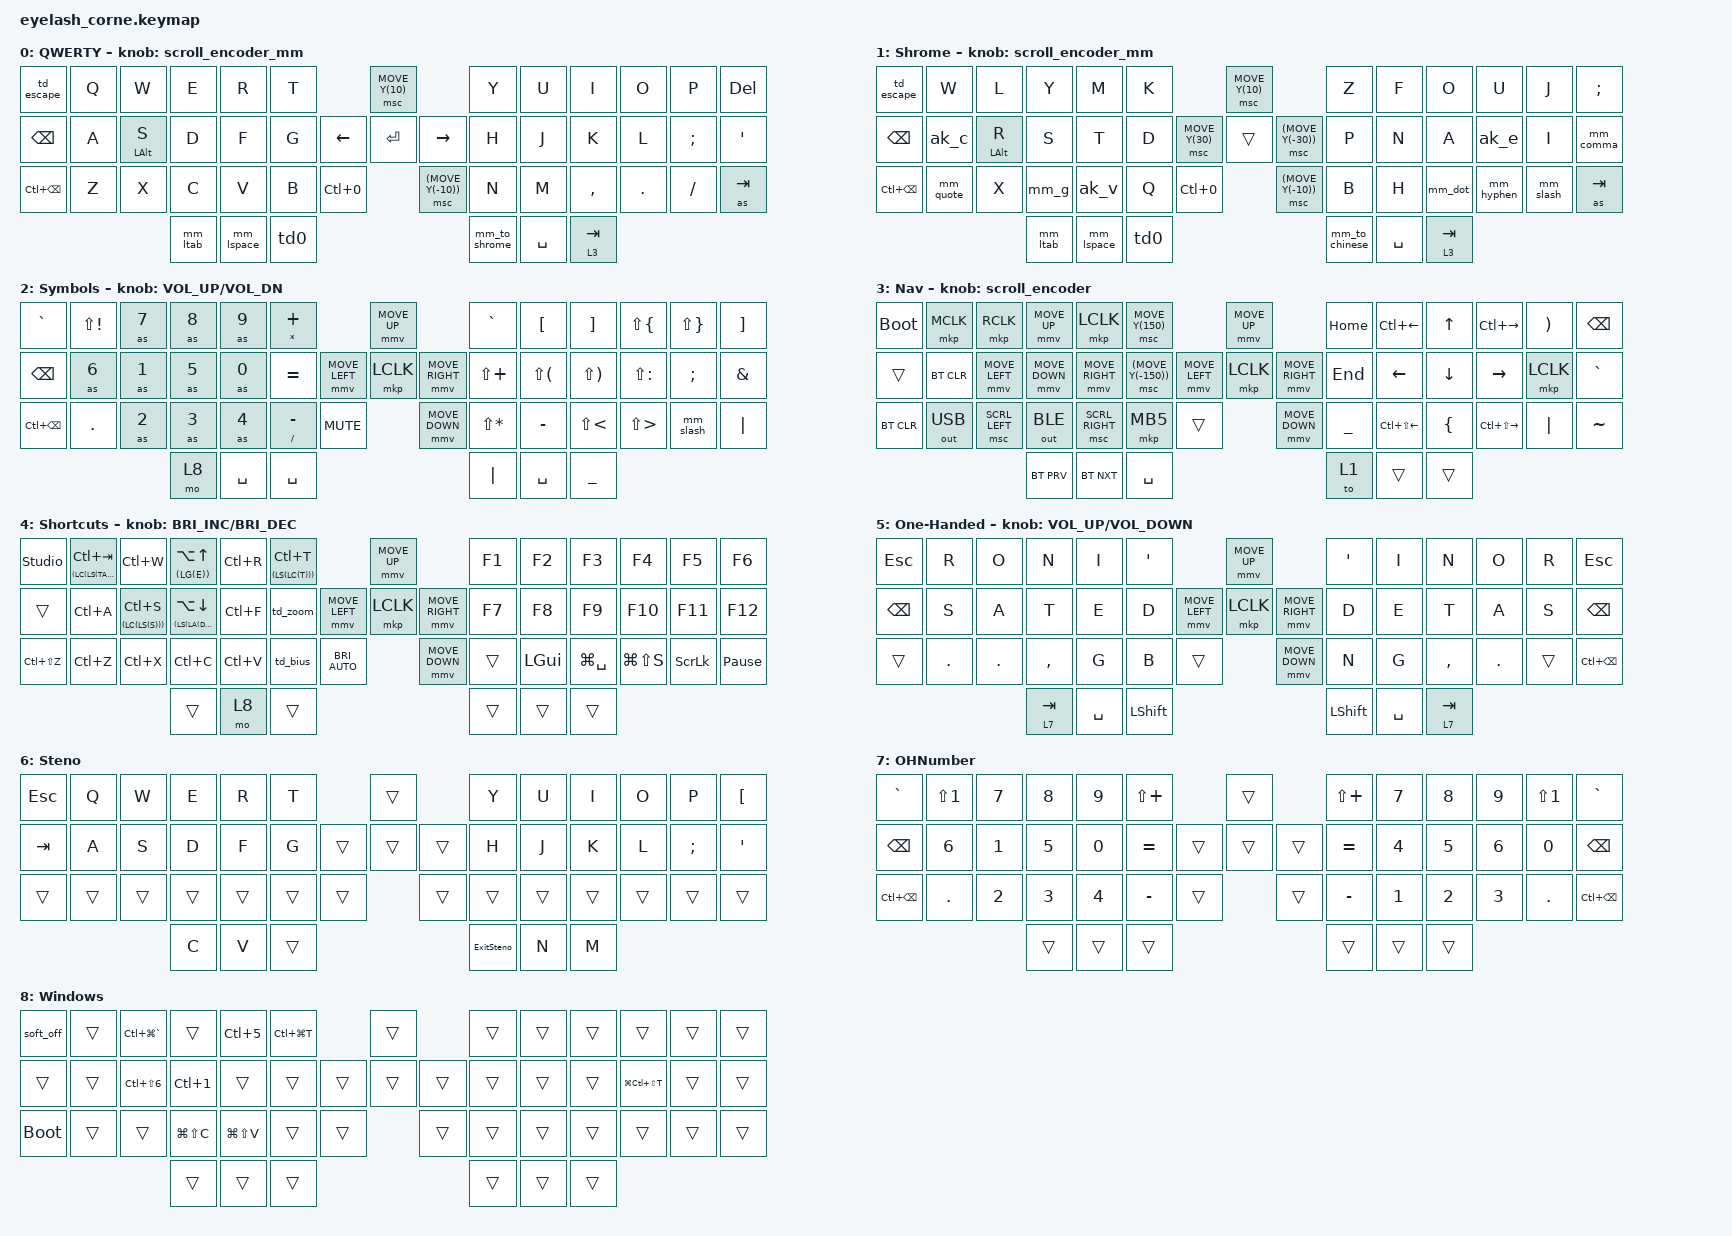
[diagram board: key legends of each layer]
#define ZMK_POINTING_DEFAULT_MOVE_VAL 600  // 600
#define ZMK_POINTING_DEFAULT_SCRL_VAL 20   // 120

#include <input/processors.dtsi>
#include <zephyr/dt-bindings/input/input-event-codes.h>
#include <behaviors.dtsi>
#include <dt-bindings/zmk/bt.h>
#include <dt-bindings/zmk/keys.h>
#include <dt-bindings/zmk/outputs.h>
#include <dt-bindings/zmk/pointing.h>
#include <dt-bindings/zmk/rgb.h>

// &mmv_input_listener { input-processors = <&zip_xy_scaler 2 1>; };

&msc_input_listener { input-processors = <&zip_scroll_scaler 2 1>; };

&msc {
    acceleration-exponent = <1>;      // 0
    time-to-max-speed-ms = <1000>;       // 300
    delay-ms = <0>;                   // 0
};

&mmv {
    time-to-max-speed-ms = <100>;
    acceleration-exponent = <0>;
    trigger-period-ms = <16>;
    delay-ms = <0>;                   // 0
};

&mt { flavor = "balanced"; };

&lt { flavor = "hold-preferred"; };

&soft_off { hold-time-ms = <2000>; };

/ {
    behaviors {
        mt_x: mt_x {
            compatible = "zmk,behavior-hold-tap";
            flavor = "hold-preferred";
            #binding-cells = <2>;
            tapping-term-ms = <200>;
            hold-trigger-key-positions = <31 42>; // Added 27
            bindings = <&kp>, <&kp>;
        };

        mt_s: mt_s {
            compatible = "zmk,behavior-hold-tap";
            flavor = "hold-preferred";
            #binding-cells = <2>;
            tapping-term-ms = <200>;
            hold-trigger-key-positions = <42 43>; // Added 27
            bindings = <&kp>, <&kp>;
        };

        ak_c: ak_c {
            compatible = "zmk,behavior-adaptive-key";
            #binding-cells = <0>;
            bindings = <&kp C>;

            akt_qc {
                trigger-keys = <Q>;
                max-prior-idle-ms = <300>;
                bindings = <&sh_because>;
            };
        };

        ak_e: ak_e {
            compatible = "zmk,behavior-adaptive-key";
            #binding-cells = <0>;
            bindings = <&kp E>;

            akt_qe {
                trigger-keys = <Q>;
                max-prior-idle-ms = <300>;
                bindings = <&kp BSPC &kp B &kp E>;
            };
        };

        ak_v: ak_v {
            compatible = "zmk,behavior-adaptive-key";
            #binding-cells = <0>;
            bindings = <&kp V>;

            akt_gv {
                trigger-keys = <G>;
                max-prior-idle-ms = <300>;
                bindings = <&kp Y>;
            };

            akt_xv {
                trigger-keys = <X>;
                max-prior-idle-ms = <300>;
                bindings = <&kp Y>;
            };
        };

        td0: td0 {
            compatible = "zmk,behavior-tap-dance";
            display-name = "Shift/Caps Lock Tap Dance";
            #binding-cells = <0>;
            bindings = <&kp LEFT_SHIFT>, <&kp CAPS>;
        };

        td_bius: td_bius {
            compatible = "zmk,behavior-tap-dance";
            #binding-cells = <0>;
            tapping-term-ms = <200>;
            bindings = <&mt LC(B) LC(I)>, <&mt LC(U) LC(S)>;
        };

        td_escape: td_escape {
            compatible = "zmk,behavior-tap-dance";
            #binding-cells = <0>;
            tapping-term-ms = <200>;
            bindings = <&mt DEL ESC>, <&del_line>;
        };

        td_zoom: td_zoom {
            compatible = "zmk,behavior-tap-dance";
            #binding-cells = <0>;
            tapping-term-ms = <200>;
            bindings = <&mt LC(MINUS) LC(PLUS)>, <&kp LC(N0)>;
        };

        as_ht: autoshift_hold_tap {
            compatible = "zmk,behavior-hold-tap";
            label = "AUTOSHIFT_HOLD_TAP";
            #binding-cells = <2>;
            tapping-term-ms = <135>;
            flavor = "tap-preferred";
            bindings = <&shifted>, <&kp>;
        };

        mm_comma: mod_morph_comma {
            compatible = "zmk,behavior-mod-morph";
            #binding-cells = <0>;
            mods = <(MOD_LSFT)>;
            bindings = <&kp COMMA>, <&kp QUESTION>;
        };

        mm_hyphen: mod_morph_hyphen {
            compatible = "zmk,behavior-mod-morph";
            #binding-cells = <0>;
            mods = <(MOD_LSFT)>;
            bindings = <&kp MINUS>, <&kp DOUBLE_QUOTES>;
        };

        mm_quote: mod_morph_quote {
            compatible = "zmk,behavior-mod-morph";
            #binding-cells = <0>;
            mods = <(MOD_LSFT)>;
            bindings = <&kp SQT>, <&kp UNDERSCORE>;
        };

        mm_slash: mod_morph_slash {
            compatible = "zmk,behavior-mod-morph";
            #binding-cells = <0>;
            mods = <(MOD_LSFT)>;
            bindings = <&kp FSLH>, <&kp BSLH>;
        };

        mm_g: mod_morph_g {
            compatible = "zmk,behavior-mod-morph";
            #binding-cells = <0>;
            mods = <(MOD_LALT)>;
            keep-mods = <(MOD_LALT)>;
            bindings = <&kp G>, <&kp TAB>;
        };

        mm_lspace: mod_morph_lspace {
            compatible = "zmk,behavior-mod-morph";
            #binding-cells = <0>;
            mods = <(MOD_LALT)>;
            keep-mods = <(MOD_LALT)>;
            bindings = <&lt 2 SPACE>, <&kp TAB>;
        };

        mm_ltab: mod_morph_ltab {
            compatible = "zmk,behavior-mod-morph";
            #binding-cells = <0>;
            mods = <(MOD_LALT)>;
            keep-mods = <(MOD_LALT)>;
            bindings = <&lt 4 TAB>, <&kp LS(TAB)>;
        };

        mm_dot: mod_morph_dot {
            compatible = "zmk,behavior-mod-morph";
            #binding-cells = <0>;
            mods = <(MOD_LSFT)>;
            bindings = <&kp DOT>, <&kp UNDERSCORE>;
        };

        mm_backspace: mod_morph_backspace {
            compatible = "zmk,behavior-mod-morph";
            #binding-cells = <0>;
            mods = <(MOD_LSFT)>;
            bindings = <&kp BSPC>, <&kp DEL>;
        };

        mm_scroll_up: mod_morph_scroll_up {
            compatible = "zmk,behavior-mod-morph";
            #binding-cells = <0>;
            mods = <(MOD_LSFT)>;
            bindings = <&msc SCRL_UP>, <&kp LC(MINUS)>;
        };

        mm_scroll_down: mod_morph_scroll_down {
            compatible = "zmk,behavior-mod-morph";
            #binding-cells = <0>;
            mods = <(MOD_LSFT)>;
            bindings = <&msc SCRL_DOWN>, <&kp LC(EQUAL)>;
        };

        scroll_encoder_mm: scroll_encoder_mm {
            compatible = "zmk,behavior-sensor-rotate";
            #sensor-binding-cells = <0>;
            bindings = <&mm_scroll_down>, <&mm_scroll_up>;

            tap-ms = <100>;
        };
    };

    rgb_encoder: rgb_encoder {
        compatible = "zmk,behavior-sensor-rotate";
        #sensor-binding-cells = <0>;
        bindings = <&rgb_ug RGB_BRI>, <&rgb_ug RGB_BRD>;
    };

    scroll_encoder: scroll_encoder {
        compatible = "zmk,behavior-sensor-rotate";
        #sensor-binding-cells = <0>;
        bindings = <&msc SCRL_DOWN>, <&msc SCRL_UP>;

        tap-ms = <100>;
    };

    combos {
        compatible = "zmk,combos";

        softoff {
            bindings = <&soft_off>;
            key-positions = <1 15 29>;
            layers = <0 1 2 3 4 7 5>;
        };

        LCtrl {
            bindings = <&kp LEFT_CONTROL>;
            key-positions = <4 17>;
            layers = <0 1 2 3 4 7 5>;
        };

        LEnter {
            bindings = <&kp ENTER>;
            key-positions = <15 16 17>;
            layers = <0 1 2 3 4 7 5>;
        };

        RCtrl {
            bindings = <&kp RCTRL>;
            key-positions = <8 23>;
            layers = <0 1 2 3 4 7 5>;
        };

        LShift {
            bindings = <&kp LSHIFT>;
            key-positions = <3 16>;
            layers = <0 1 2 3 4 7 5>;
        };

        RShift {
            bindings = <&kp RSHIFT>;
            key-positions = <9 24>;
            layers = <0 1 2 3 4 7 5>;
        };

        LAlt {
            bindings = <&kp LALT>;
            key-positions = <2 15>;
            layers = <0 1 2 3 4 7 5>;
        };

        RAlt {
            bindings = <&kp RALT>;
            key-positions = <10 25>;
            layers = <0 1 2 3 4 7 5>;
        };

        LGui {
            bindings = <&kp LGUI>;
            key-positions = <1 14>;
            layers = <0 1 2 3 4 7 5>;
        };

        RGui {
            bindings = <&kp RGUI>;
            key-positions = <11 26>;
            layers = <0 1 2 3 4 7 5>;
        };

        Enter {
            bindings = <&kp ENTER>;
            key-positions = <16 17 23 24>;
            layers = <0 1 2 3 4 7 5>;
        };

        ToSteno {
            bindings = <&ToSteno>;
            key-positions = <14 2 10 26>;
            layers = <0 1 2 3 4 7 5>;
        };

        // One-handed layer combos - Left Hand (ohl_*)
        // Key mappings: 1->5, 2->17, 3->4, 4->16, 5->3, 6->15, 7->2, 8->14

        ohl_b: ohl_b {
            bindings = <&kp B>;
            key-positions = <15 3>; // 4 15 -> b
            layers = <5>;
        };

        ohl_c: ohl_c {
            bindings = <&kp C>;
            key-positions = <17 15>; // 17 15 -> c
            layers = <5>;
        };

        ohl_d: ohl_d {
            bindings = <&kp D>;
            key-positions = <17 14>; // 17 14 -> d
            layers = <5>;
        };

        ohl_f: ohl_f {
            bindings = <&kp F>;
            key-positions = <2 4>; // 5 3 -> f
            layers = <5>;
        };

        ohl_g: ohl_g {
            bindings = <&kp G>;
            key-positions = <1 4>; // 5 2 -> g
            layers = <5>;
        };

        ohl_h: ohl_h {
            bindings = <&kp H>;
            key-positions = <16 17>; // 16 15 -> h
            layers = <5>;
        };

        ohl_j: ohl_j {
            bindings = <&kp J>;
            key-positions = <16 1>; // 16 2 -> j
            layers = <5>;
        };

        ohl_k: ohl_k {
            bindings = <&kp K>;
            key-positions = <15 4>; // 5 15 -> k
            layers = <5>;
        };

        ohl_l: ohl_l {
            bindings = <&kp L>;
            key-positions = <17 3>; // 17 4 -> l
            layers = <5>;
        };

        ohl_m: ohl_m {
            bindings = <&kp M>;
            key-positions = <17 1>; // 17 2 -> m
            layers = <5>;
        };

        ohl_p: ohl_p {
            bindings = <&kp P>;
            key-positions = <3 2>; // 4 3 -> p
            layers = <5>;
        };

        ohl_q: ohl_q {
            bindings = <&kp Q>;
            key-positions = <16 14>; // 16 14 -> q
            layers = <5>;
        };

        ohl_u: ohl_u {
            bindings = <&kp U>;
            key-positions = <17 2>; // 17 3 -> u
            layers = <5>;
        };

        ohl_v: ohl_v {
            bindings = <&kp V>;
            key-positions = <15 16>; // 3 15 -> v
            layers = <5>;
        };

        ohl_w: ohl_w {
            bindings = <&kp W>;
            key-positions = <14 4>; // 5 14 -> w
            layers = <5>;
        };

        ohl_x: ohl_x {
            bindings = <&kp X>;
            key-positions = <14 3>; // 4 14 -> x
            layers = <5>;
        };

        ohl_y: ohl_y {
            bindings = <&kp Y>;
            key-positions = <4 3>; // 5 4 -> y
            layers = <5>;
        };

        ohl_z: ohl_z {
            bindings = <&kp Z>;
            key-positions = <1 3>; // 4 2 -> z
            layers = <5>;
        };

        ohl_colon: ohl_colon {
            bindings = <&kp COLON>;
            key-positions = <15 14>; // 15 14 -> colon
            layers = <5>;
        };

        ohl_semicolon: ohl_semicolon {
            bindings = <&kp SEMI>;
            key-positions = <2 1>; // 3 2 -> semicolon
            layers = <5>;
        };

        ohl_question: ohl_question {
            bindings = <&kp QUESTION>;
            key-positions = <17 3 2>; // 17 4 3 -> question mark
            layers = <5>;
        };

        ohl_exclamation: ohl_exclamation {
            bindings = <&kp EXCLAMATION>;
            key-positions = <16 15 4>; // 5 16 15 -> exclamation mark
            layers = <5>;
        };

        ohl_hyphen: ohl_hyphen {
            bindings = <&kp MINUS>;
            key-positions = <4 3 2>; // 5 4 3 -> hyphen
            layers = <5>;
        };

        ohl_slash: ohl_slash {
            bindings = <&kp FSLH>;
            key-positions = <16 4>; // 16 3 -> slash
            layers = <5>;
        };

        ohl_backslash: ohl_backslash {
            bindings = <&kp BSLH>;
            key-positions = <16 2>; // 5 16 -> backward slash
            layers = <5>;
        };

        // One-handed layer combos - Right Hand (ohr_*)
        // Key mappings: 1->8, 2->23, 3->9, 4->24, 5->10, 6->25, 7->11, 8->26

        ohr_b: ohr_b {
            bindings = <&kp B>;
            key-positions = <9 25>; // 9 25 -> b
            layers = <5>;
        };

        ohr_c: ohr_c {
            bindings = <&kp C>;
            key-positions = <23 25>; // 23 25 -> c
            layers = <5>;
        };

        ohr_d: ohr_d {
            bindings = <&kp D>;
            key-positions = <23 26>; // 23 26 -> d
            layers = <5>;
        };

        ohr_f: ohr_f {
            bindings = <&kp F>;
            key-positions = <8 10>; // 8 10 -> f
            layers = <5>;
        };

        ohr_g: ohr_g {
            bindings = <&kp G>;
            key-positions = <8 11>; // 8 11 -> g
            layers = <5>;
        };

        ohr_h: ohr_h {
            bindings = <&kp H>;
            key-positions = <24 23>; // 24 25 -> h
            layers = <5>;
        };

        ohr_j: ohr_j {
            bindings = <&kp J>;
            key-positions = <24 11>; // 24 11 -> j
            layers = <5>;
        };

        ohr_k: ohr_k {
            bindings = <&kp K>;
            key-positions = <8 25>; // 8 25 -> k
            layers = <5>;
        };

        ohr_l: ohr_l {
            bindings = <&kp L>;
            key-positions = <23 9>; // 23 9 -> l
            layers = <5>;
        };

        ohr_m: ohr_m {
            bindings = <&kp M>;
            key-positions = <23 11>; // 23 11 -> m
            layers = <5>;
        };

        ohr_p: ohr_p {
            bindings = <&kp P>;
            key-positions = <9 10>; // 9 10 -> p
            layers = <5>;
        };

        ohr_q: ohr_q {
            bindings = <&kp Q>;
            key-positions = <24 26>; // 24 26 -> q
            layers = <5>;
        };

        ohr_u: ohr_u {
            bindings = <&kp U>;
            key-positions = <23 10>; // 23 10 -> u
            layers = <5>;
        };

        ohr_v: ohr_v {
            bindings = <&kp V>;
            key-positions = <24 25>; // 10 25 -> v
            layers = <5>;
        };

        ohr_w: ohr_w {
            bindings = <&kp W>;
            key-positions = <8 26>; // 8 26 -> w
            layers = <5>;
        };

        ohr_x: ohr_x {
            bindings = <&kp X>;
            key-positions = <9 26>; // 9 26 -> x
            layers = <5>;
        };

        ohr_y: ohr_y {
            bindings = <&kp Y>;
            key-positions = <8 9>; // 8 9 -> y
            layers = <5>;
        };

        ohr_z: ohr_z {
            bindings = <&kp Z>;
            key-positions = <9 11>; // 9 11 -> z
            layers = <5>;
        };

        ohr_colon: ohr_colon {
            bindings = <&kp COLON>;
            key-positions = <25 26>; // 25 26 -> colon
            layers = <5>;
        };

        ohr_semicolon: ohr_semicolon {
            bindings = <&kp SEMI>;
            key-positions = <10 11>; // 10 11 -> semicolon
            layers = <5>;
        };

        ohr_question: ohr_question {
            bindings = <&kp QUESTION>;
            key-positions = <23 9 10>; // 23 9 10 -> question mark
            layers = <5>;
        };

        ohr_exclamation: ohr_exclamation {
            bindings = <&kp EXCLAMATION>;
            key-positions = <8 24 25>; // 8 24 25 -> exclamation mark
            layers = <5>;
        };

        ohr_hyphen: ohr_hyphen {
            bindings = <&kp MINUS>;
            key-positions = <8 9 10>; // 8 9 10 -> hyphen
            layers = <5>;
        };

        ohr_slash: ohr_slash {
            bindings = <&kp FSLH>;
            key-positions = <24 10>; // 24 10 -> slash
            layers = <5>;
        };

        ohr_backslash: ohr_backslash {
            bindings = <&kp BSLH>;
            key-positions = <8 24>; // 8 24 -> backward slash
            layers = <5>;
        };

        LToOneHand {
            bindings = <&to 5>;
            key-positions = <30 31 32>;
            layers = <1 0>;
        };

        RToOneHand {
            bindings = <&to 5>;
            key-positions = <37 38 39>;
            layers = <1 0>;
        };

        LExitOneHand {
            bindings = <&to 1>;
            key-positions = <30 31 32>;
            layers = <5>;
        };

        RExitOneHand {
            bindings = <&to 1>;
            key-positions = <37 38 39>;
            layers = <5>;
        };

        CtrlEnter {
            bindings = <&kp LC(ENTER)>;
            key-positions = <4 17 23 8 23>;
            layers = <0 1 2 3 4 7 5>;
        };

        ShiftEnter {
            bindings = <&kp LS(ENTER)>;
            key-positions = <16 9 24 3>;
            layers = <0 1 2 3 4 7 5>;
        };

        AltEnter {
            bindings = <&kp LA(ENTER)>;
            key-positions = <2 15 10 25>;
            layers = <0 1 2 3 4 7 5>;
        };

        REnter {
            bindings = <&kp ENTER>;
            key-positions = <24 25 23>;
            layers = <0 1 2 3 4 7 5>;
        };

        WinEnter {
            bindings = <&kp LG(ENTER)>;
            key-positions = <1 14 11 26>;
            layers = <0 1 2 3 4 7 5>;
        };

        LCtrlSticky {
            bindings = <&sk LEFT_CONTROL>;
            key-positions = <4 17>;
            layers = <5 7>;
        };

        LEnterSticky {
            bindings = <&sk ENTER>;
            key-positions = <15 16 17>;
            layers = <5 7>;
        };

        RCtrlSticky {
            bindings = <&sk RCTRL>;
            key-positions = <8 23>;
            layers = <5 7>;
        };

        LShiftSticky {
            bindings = <&sk LSHIFT>;
            key-positions = <3 16>;
            layers = <5 7>;
        };

        RShiftSticky {
            bindings = <&sk RSHIFT>;
            key-positions = <9 24>;
            layers = <5 7>;
        };

        LAltSticky {
            bindings = <&sk LALT>;
            key-positions = <2 15>;
            layers = <5 7>;
        };

        RAltSticky {
            bindings = <&sk RALT>;
            key-positions = <10 25>;
            layers = <5 7>;
        };

        LGuiSticky {
            bindings = <&sk LGUI>;
            key-positions = <1 14>;
            layers = <5 7>;
        };

        RGuiSticky {
            bindings = <&sk RGUI>;
            key-positions = <11 26>;
            layers = <5 7>;
        };
    };

    macros {
        sh_because: sh_because {
            compatible = "zmk,behavior-macro";
            #binding-cells = <0>;
            bindings =
                <&macro_tap>,
                <&kp BSPC &kp B &kp E &kp C &kp A &kp U &kp S &kp E>,
                <&macro_press>;

            label = "sh_because";
        };

        del_line: del_line {
            compatible = "zmk,behavior-macro";
            #binding-cells = <0>;
            bindings =
                <&macro_tap>,
                <&kp HOME &kp HOME &kp RS(END) &kp BSPC &kp BSPC &kp DOWN &kp END>,
                <&macro_press>;

            label = "del_line";
        };

        shifted: macro_shifted_kp {
            #binding-cells = <1>;
            label = "MACRO_SHIFTED_KP";
            compatible = "zmk,behavior-macro-one-param";
            bindings =
                <&macro_press>,
                <&kp LSHFT &macro_param_1to1>,
                <&macro_tap>,
                <&kp MACRO_PLACEHOLDER>,
                <&macro_release>,
                <&kp LSHFT>;
        };

        as: autoshift {
            compatible = "zmk,behavior-macro-one-param";
            #binding-cells = <1>;
            label = "AUTOSHIFT_KP";
            bindings =
                <&macro_press>,
                <&macro_param_1to1 &macro_param_1to2 &as_ht MACRO_PLACEHOLDER MACRO_PLACEHOLDER>,
                <&macro_pause_for_release>,
                <&macro_release>,
                <&macro_param_1to1 &macro_param_1to2 &as_ht MACRO_PLACEHOLDER MACRO_PLACEHOLDER>;
        };

        ToChinese: ToChinese {
            compatible = "zmk,behavior-macro";
            #binding-cells = <0>;
            bindings = <&macro_tap>, <&kp LC(LS(SPACE)) &to 0>;

            #bindings = <&macro_tap>, <&kp LA(LS(NUMBER_0)) &to 0>;

            label = "TOCHINESE";
        };

        ToChinese_ctrl: ToChinese_ctrl {
            compatible = "zmk,behavior-macro";
            #binding-cells = <0>;
            bindings = <&macro_tap>, <&kp LA(LS(NUMBER_0)) &to 0>;

            #bindings = <&macro_tap>, <&kp LC(LS(SPACE)) &to 0>;

            label = "TOCHINESE_CTRL";
        };

        mm_to_chinese: mod_morph_to_chinese {
            compatible = "zmk,behavior-mod-morph";
            #binding-cells = <0>;
            mods = <(MOD_LCTL)>;
            bindings = <&ToChinese_ctrl>, <&ToChinese>;
        };

        ToShrome: ToShrome {
            compatible = "zmk,behavior-macro";
            #binding-cells = <0>;
            bindings = <&macro_tap>, <&kp LC(SPACE) &to 1>;

            #bindings = <&macro_tap>, <&kp LS(LA(NUMBER_1)) &to 1>;

            label = "TOSHROME";
        };

        ToShrome_ctrl: ToShrome_ctrl {
            compatible = "zmk,behavior-macro";
            #binding-cells = <0>;
            bindings = <&macro_tap>, <&kp LS(LA(NUMBER_1)) &to 1>;

            #bindings = <&macro_tap>, <&kp LC(SPACE) &to 1>;

            label = "TOSHROME_CTRL";
        };

        mm_to_shrome: mod_morph_to_shrome {
            compatible = "zmk,behavior-mod-morph";
            #binding-cells = <0>;
            mods = <(MOD_LCTL)>;
            bindings = <&ToShrome_ctrl>, <&ToShrome>;
        };

        ToSteno: ToSteno {
            compatible = "zmk,behavior-macro";
            #binding-cells = <0>;
            bindings =
                <&macro_press>,
                <&kp E &kp R &kp F &kp V &kp I &kp K &kp H>,
                <&macro_release>,
                <&kp E &kp R &kp F &kp V &kp I &kp K &kp H>,
                <&macro_tap>,
                <&to 6>;

            label = "TOSTENO";
        };

        ExitSteno: ExitSteno {
            compatible = "zmk,behavior-macro";
            #binding-cells = <0>;
            bindings =
                <&macro_press>,
                <&kp E &kp R &kp F &kp V &kp U &kp H>,
                <&macro_release>,
                <&kp E &kp R &kp F &kp V &kp U &kp H>,
                <&macro_tap>,
                <&to 1>;

            label = "EXITSTENO";
        };
    };

    keymap {
        compatible = "zmk,keymap";

        QWERTY {
            display-name = "QWERTY";
            bindings = <
&td_escape         &kp Q  &kp W             &kp E     &kp R       &kp T                          &msc MOVE_Y(10)                &kp Y          &kp U      &kp I      &kp O    &kp P     &kp DEL
&kp BSPC           &kp A  &mt_s LEFT_ALT S  &kp D     &kp F       &kp G                &kp LEFT  &kp ENTER           &kp RIGHT  &kp H          &kp J      &kp K      &kp L    &kp SEMI  &kp SQT
&kp LC(BACKSPACE)  &kp Z  &kp X             &kp C     &kp V       &kp B  &kp LC(N0)              &msc (MOVE_Y(-10))             &kp N          &kp M      &kp COMMA  &kp DOT  &kp FSLH  &as TAB
                                            &mm_ltab  &mm_lspace  &td0                                                          &mm_to_shrome  &kp SPACE  &lt 3 TAB
            >;

            sensor-bindings = <&scroll_encoder_mm>;
        };

        Shrome {
            bindings = <
&td_escape    &kp W      &kp L         &kp Y     &kp M       &kp K                                 &msc MOVE_Y(10)                         &kp Z           &kp F      &kp O      &kp U       &kp J      &kp SEMI
&kp BSPC      &ak_c      &mt_s LALT R  &kp S     &kp T       &kp D                &msc MOVE_Y(30)  &trans              &msc (MOVE_Y(-30))  &kp P           &kp N      &kp A      &ak_e       &kp I      &mm_comma
&kp LC(BSPC)  &mm_quote  &kp X         &mm_g     &ak_v       &kp Q  &kp LC(N0)                     &msc (MOVE_Y(-10))                      &kp B           &kp H      &mm_dot    &mm_hyphen  &mm_slash  &as TAB
                                       &mm_ltab  &mm_lspace  &td0                                                                          &mm_to_chinese  &kp SPACE  &lt 3 TAB
            >;

            sensor-bindings = <&scroll_encoder_mm>;
            label = "Shrome";
        };

        Symbols {
            display-name = "Symbols";
            bindings = <
&kp GRAVE     &kp LS(EXCL)  &as N7  &as N8  &as N9     &mt STAR PLUS                                  &mmv MOVE_UP                     &kp GRAVE     &kp LBKT      &kp RBKT        &kp LS(LBRC)   &kp LS(RBRC)  &kp RBKT
&kp BSPC      &as N6        &as N1  &as N5  &as N0     &kp EQUAL                      &mmv MOVE_LEFT  &mkp LCLK       &mmv MOVE_RIGHT  &kp LS(PLUS)  &kp LS(LPAR)  &kp LS(RPAR)    &kp LS(COLON)  &kp SEMI      &kp AMPERSAND
&kp LC(BSPC)  &kp DOT       &as N2  &as N3  &as N4     &mt SLASH MINUS  &kp C_MUTE                    &mmv MOVE_DOWN                   &kp LS(STAR)  &kp MINUS     &kp LS(LT)      &kp LS(GT)     &mm_slash     &kp PIPE
                                    &mo 8   &kp SPACE  &kp SPACE                                                                       &kp PIPE      &kp SPACE     &kp UNDERSCORE
            >;

            sensor-bindings = <&inc_dec_kp C_VOLUME_UP C_VOL_DN>;
        };

        Nav {
            display-name = "Nav";
            bindings = <
&bootloader  &mkp MCLK     &mkp RCLK       &mmv MOVE_UP    &mkp LCLK        &msc MOVE_Y(150)                               &mmv MOVE_UP                     &kp HOME   &kp LC(LEFT_ARROW)  &kp UP_ARROW    &kp LC(RIGHT_ARROW)  &kp RPAR   &kp BSPC
&trans       &bt BT_CLR    &mmv MOVE_LEFT  &mmv MOVE_DOWN  &mmv MOVE_RIGHT  &msc (MOVE_Y(-150))            &mmv MOVE_LEFT  &mkp LCLK       &mmv MOVE_RIGHT  &kp END    &kp LEFT_ARROW      &kp DOWN_ARROW  &kp RIGHT_ARROW      &mkp LCLK  &kp GRAVE
&bt BT_CLR   &out OUT_USB  &msc SCRL_LEFT  &out OUT_BLE    &msc SCRL_RIGHT  &mkp MB5             &trans                    &mmv MOVE_DOWN                   &kp UNDER  &kp LC(LS(LEFT))    &kp LBRC        &kp LC(LS(RIGHT))    &kp PIPE   &kp TILDE
                                           &bt BT_PRV      &bt BT_NXT       &kp SPACE                                                                       &to 1      &trans              &trans
            >;

            sensor-bindings = <&scroll_encoder>;
        };

        Shortcuts {
            display-name = "Shortcuts";
            bindings = <
&studio_unlock  &mt (LC(LS(TAB))) LC(TAB)  &kp LC(W)              &mt (LG(E)) LA(UP_ARROW)     &kp LC(R)  &mt (LS(LC(T))) LC(T)                                           &mmv MOVE_UP                     &kp F1  &kp F2        &kp F3         &kp F4         &kp F5          &kp F6
&trans          &kp LC(A)                  &mt (LC(LS(S))) LC(S)  &mt (LS(LA(DOWN))) LA(DOWN)  &kp LC(F)  &td_zoom                                        &mmv MOVE_LEFT  &mkp LCLK       &mmv MOVE_RIGHT  &kp F7  &kp F8        &kp F9         &kp F10        &kp F11         &kp F12
&kp LC(LS(Z))   &kp LC(Z)                  &kp LC(X)              &kp LC(C)                    &kp LC(V)  &td_bius               &kp C_BRIGHTNESS_AUTO                    &mmv MOVE_DOWN                   &trans  &kp LEFT_GUI  &kp LG(SPACE)  &kp LG(LS(S))  &kp SCROLLLOCK  &kp PAUSE_BREAK
                                                                  &trans                       &mo 8      &trans                                                                                           &trans  &trans        &trans
            >;

            sensor-bindings = <&inc_dec_kp C_BRIGHTNESS_INC C_BRIGHTNESS_DEC>;
        };

        OneHanded {
            display-name = "One-Handed";
            bindings = <
&kp ESC   &kp R    &kp O    &kp N      &kp I      &kp SQT                                   &mmv MOVE_UP                     &kp APOSTROPHE  &kp I      &kp N      &kp O    &kp R   &kp ESC
&kp BSPC  &kp S    &kp A    &kp T      &kp E      &kp D                     &mmv MOVE_LEFT  &mkp LCLK       &mmv MOVE_RIGHT  &kp D           &kp E      &kp T      &kp A    &kp S   &kp BSPC
&trans    &kp DOT  &kp DOT  &kp COMMA  &kp G      &kp B           &trans                    &mmv MOVE_DOWN                   &kp N           &kp G      &kp COMMA  &kp DOT  &trans  &kp LC(BSPC)
                            &lt 7 TAB  &kp SPACE  &kp LEFT_SHIFT                                                             &kp LEFT_SHIFT  &kp SPACE  &lt 7 TAB
            >;

            sensor-bindings = <&inc_dec_kp C_VOLUME_UP C_VOLUME_DOWN>;
        };

        Steno {
            display-name = "Steno";
            bindings = <
&kp ESC  &kp Q   &kp W   &kp E   &kp R   &kp T                     &trans          &kp Y       &kp U   &kp I   &kp O   &kp P     &kp LBKT
&kp TAB  &kp A   &kp S   &kp D   &kp F   &kp G             &trans  &trans  &trans  &kp H       &kp J   &kp K   &kp L   &kp SEMI  &kp SQT
&trans   &trans  &trans  &trans  &trans  &trans  &trans            &trans          &trans      &trans  &trans  &trans  &trans    &trans
                         &kp C   &kp V   &trans                                    &ExitSteno  &kp N   &kp M
            >;
        };

        OneHandNumbers {
            bindings = <
&kp GRAVE     &kp LS(N1)  &kp N7  &kp N8  &kp N9  &kp LS(PLUS)                    &trans          &kp LS(PLUS)  &kp N7  &kp N8  &kp N9  &kp LS(N1)  &kp GRAVE
&kp BSPC      &kp N6      &kp N1  &kp N5  &kp N0  &kp EQUAL               &trans  &trans  &trans  &kp EQUAL     &kp N4  &kp N5  &kp N6  &kp N0      &kp BSPC
&kp LC(BSPC)  &kp DOT     &kp N2  &kp N3  &kp N4  &kp MINUS     &trans            &trans          &kp MINUS     &kp N1  &kp N2  &kp N3  &kp DOT     &kp LC(BSPC)
                                  &trans  &trans  &trans                                          &trans        &trans  &trans
            >;

            label = "OHNumber";
        };

        Windows {
            bindings = <
&soft_off    &trans  &kp LC(LG(GRAVE))  &trans         &kp LC(N5)     &kp LC(LG(T))                    &trans          &trans  &trans  &trans  &trans             &trans  &trans
&trans       &trans  &kp LC(LS(N6))     &kp LC(N1)     &trans         &trans                   &trans  &trans  &trans  &trans  &trans  &trans  &kp LG(LC(LS(T)))  &trans  &trans
&bootloader  &trans  &trans             &kp LG(LS(C))  &kp LG(LS(V))  &trans         &trans            &trans          &trans  &trans  &trans  &trans             &trans  &trans
                                        &trans         &trans         &trans                                           &trans  &trans  &trans
            >;
        };
    };
};
